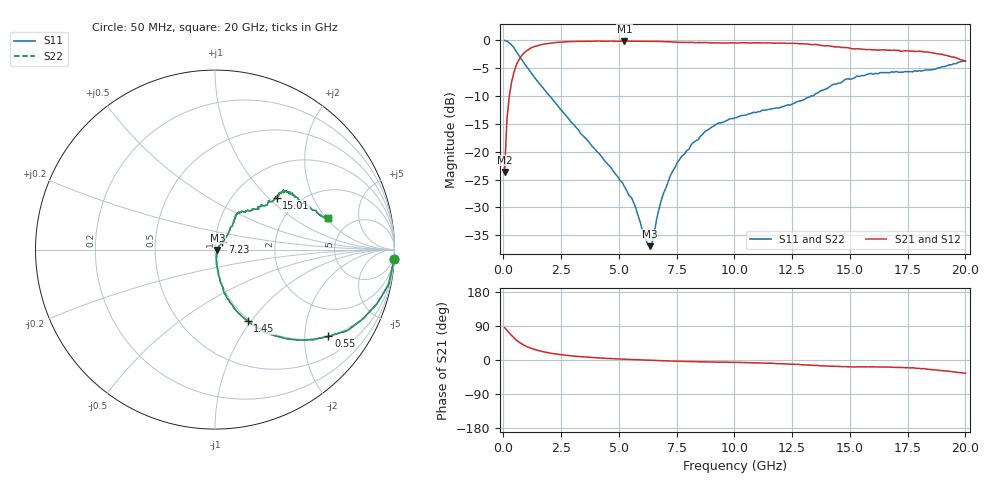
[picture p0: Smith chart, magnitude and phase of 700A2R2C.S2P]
!  American Technical Ceramics  Date:  3/13/98
!  One Norden Lane
!  Huntington Station,  NY.  11746-2102
!  Tel:  (516) 547-5700  Fax:  (516) 547-5748
!  Part Number  700A2R2C
!  Description: Porcelain, High Q, Low ESR
!  Application: Bypass, Coupling, Timing, Feedback
!  Tuning, Impedance Match, Blocking
# GHZ S DB R 50
! Freq  |S11|  S11 Ph  |S21|  S21 Ph  |S12|  S12 Ph  |S22|  S22 Ph
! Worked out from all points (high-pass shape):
!   201 points, 50 MHz to 20 GHz, reference 50 ohm
!   highest |S21| = -0.11 dB at 5.24 GHz (marker M1); lowest = -23.6 dB at 50 MHz (marker M2)
!   |S21| within 3 dB of the highest: 723.1 MHz to 19.59 GHz (18.86 GHz wide, 186 % of centre)
!   lowest |S11| = -37.0 dB at 6.33 GHz (marker M3), VSWR 1.03, Z = 51.4 - j0.281 ohm
!   |S11| at or under -10 dB: 2.006 GHz to 13.31 GHz (11.3 GHz wide, 148 % of centre)
!   |S22| runs from -37.0 to 0.0 dB; largest |S21 - S12| = 0
!   S11 on the Smith chart (normalised r, x): 50 MHz: -0, -40; 550 MHz: 0.99, -2.62; 1.45 GHz: 0.98, -0.96; 7.23 GHz: 1.08, +0.10; 15.01 GHz: 1.55, +1.12; 20 GHz: 3.43, +2.08
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0.05  0.00 -2.9  -23.63 85.3  -23.63 85.3  0.00 -2.9
0.15  -0.12 -11.6  -14.25 78.7  -14.25 78.7  -0.12 -11.6
0.25  -0.43 -18.5  -10.10 71.5  -10.10 71.5  -0.43 -18.5
0.55  -1.99 -37.4  -4.50 53.0  -4.50 53.0  -1.99 -37.4
0.95  -4.40 -53.7  -2.05 37.3  -2.05 37.3  -4.40 -53.7
1.45  -7.20 -65.5  -0.98 26.0  -0.98 26.0  -7.20 -65.5
2.24  -11.18 -76.1  -0.37 16.3  -0.37 16.3  -11.18 -76.1
3.44  -17.13 -82.4  -0.16 8.4  -0.16 8.4  -17.13 -82.4
5.24  -26.27 -80.5  -0.11 2.1  -0.11 2.1  -26.27 -80.5
5.64  -29.16 -74.5  -0.12 1.0  -0.12 1.0  -29.16 -74.5
6.04  -34.58 -55.1  -0.15 0.1  -0.15 0.1  -34.58 -55.1
6.33  -36.98 -11.1  -0.16 -0.5  -0.16 -0.5  -36.98 -11.1
6.43  -36.46 8.1  -0.16 -0.8  -0.16 -0.8  -36.46 8.1
6.73  -30.40 41.1  -0.17 -1.7  -0.17 -1.7  -30.40 41.1
7.23  -24.27 47.3  -0.23 -2.8  -0.23 -2.8  -24.27 47.3
8.73  -16.32 55.0  -0.36 -4.8  -0.36 -4.8  -16.32 55.0
10.03  -13.91 56.8  -0.44 -6.2  -0.44 -6.2  -13.91 56.8
13.42  -9.93 44.9  -0.76 -14.3  -0.76 -14.3  -9.93 44.9
15.01  -6.98 40.0  -1.42 -18.0  -1.42 -18.0  -6.98 40.0
16.71  -5.81 39.0  -1.75 -18.4  -1.75 -18.4  -5.81 39.0
18.2  -5.37 32.9  -2.05 -22.5  -2.05 -22.5  -5.37 32.9
20  -3.69 15.4  -3.72 -34.8  -3.72 -34.8  -3.69 15.4
